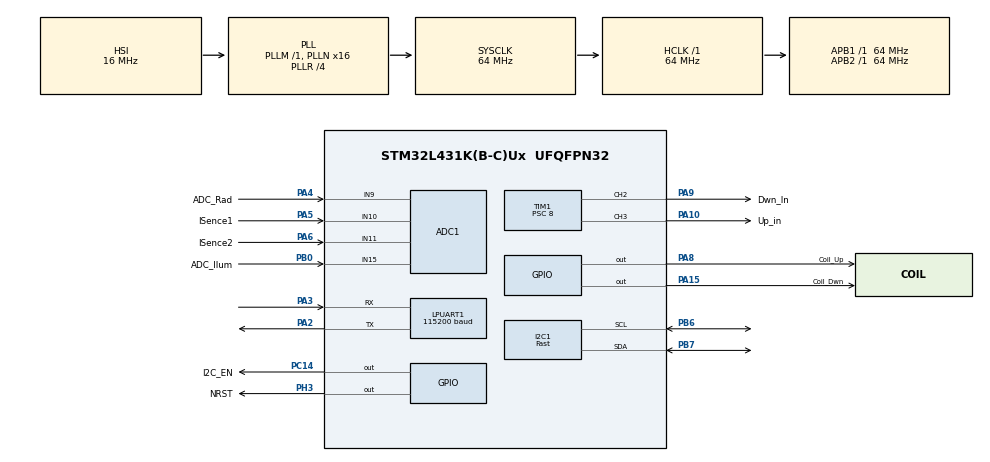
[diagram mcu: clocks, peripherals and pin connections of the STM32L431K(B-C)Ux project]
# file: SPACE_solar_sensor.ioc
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ADC1.Channel-0\#ChannelRegularConversion=ADC_CHANNEL_9
ADC1.Channel-1\#ChannelRegularConversion=ADC_CHANNEL_10
ADC1.Channel-2\#ChannelRegularConversion=ADC_CHANNEL_11
ADC1.Channel-3\#ChannelRegularConversion=ADC_CHANNEL_15
ADC1.ContinuousConvMode=ENABLE
ADC1.DMAContinuousRequests=ENABLE
ADC1.NbrOfConversion=4
ADC1.NbrOfConversionFlag=1
ADC1.OffsetNumber-0\#ChannelRegularConversion=ADC_OFFSET_NONE
ADC1.OffsetNumber-1\#ChannelRegularConversion=ADC_OFFSET_NONE
ADC1.OffsetNumber-2\#ChannelRegularConversion=ADC_OFFSET_NONE
ADC1.OffsetNumber-3\#ChannelRegularConversion=ADC_OFFSET_NONE
ADC1.Rank-0\#ChannelRegularConversion=1
ADC1.Rank-1\#ChannelRegularConversion=2
ADC1.Rank-2\#ChannelRegularConversion=3
ADC1.Rank-3\#ChannelRegularConversion=4
ADC1.SamplingTime-0\#ChannelRegularConversion=ADC_SAMPLETIME_640CYCLES_5
ADC1.SamplingTime-1\#ChannelRegularConversion=ADC_SAMPLETIME_640CYCLES_5
ADC1.SamplingTime-2\#ChannelRegularConversion=ADC_SAMPLETIME_640CYCLES_5
ADC1.SamplingTime-3\#ChannelRegularConversion=ADC_SAMPLETIME_640CYCLES_5
ADC1.master=1
Dma.ADC1.0.Direction=DMA_PERIPH_TO_MEMORY
Dma.ADC1.0.Instance=DMA1_Channel1
Dma.ADC1.0.MemDataAlignment=DMA_MDATAALIGN_HALFWORD
Dma.ADC1.0.MemInc=DMA_MINC_ENABLE
Dma.ADC1.0.Mode=DMA_CIRCULAR
Dma.ADC1.0.PeriphDataAlignment=DMA_PDATAALIGN_HALFWORD
Dma.ADC1.0.PeriphInc=DMA_PINC_DISABLE
Dma.ADC1.0.Priority=DMA_PRIORITY_LOW
Dma.Request0=ADC1
I2C1.I2C_Speed_Mode=I2C_Fast
I2C1.Speed=400
I2C1.Timing=0x00602173
LPUART1.BaudRate=115200
LPUART1.WordLength=UART_WORDLENGTH_8B
Mcu.Family=STM32L4
Mcu.Name=STM32L431K(B-C)Ux
Mcu.Package=UFQFPN32
NVIC.DMA1_Channel1_IRQn=true\:0\:0\:true\:false\:true\:false\:true\:true
NVIC.LPUART1_IRQn=true\:0\:0\:false\:false\:true\:true\:true\:true
NVIC.PriorityGroup=NVIC_PRIORITYGROUP_4
NVIC.TIM1_CC_IRQn=true\:0\:0\:true\:false\:true\:true\:true\:true
NVIC.TIM2_IRQn=true\:0\:0\:false\:false\:true\:true\:true\:true
PA0.Mode=HSE-External-Clock-Source-for-LittleOrca
PA0.Signal=RCC_CK_IN
PA10.GPIO_Label=Up_in
PA10.Signal=S_TIM1_CH3
PA13\ (JTMS-SWDIO).Mode=Serial_Wire
PA13\ (JTMS-SWDIO).Signal=SYS_JTMS-SWDIO
PA14\ (JTCK-SWCLK).Mode=Serial_Wire
PA14\ (JTCK-SWCLK).Signal=SYS_JTCK-SWCLK
PA15\ (JTDI).GPIO_Label=Coil_Dwn
PA15\ (JTDI).GPIO_ModeDefaultOutputPP=GPIO_MODE_OUTPUT_OD
PA15\ (JTDI).GPIO_PuPd=GPIO_NOPULL
PA15\ (JTDI).Signal=GPIO_Output
PA2.Mode=Asynchronous
PA2.Signal=LPUART1_TX
PA3.Mode=Asynchronous
PA3.Signal=LPUART1_RX
PA4.GPIO_Label=ADC_Rad
PA4.Signal=ADCx_IN9
PA5.GPIO_Label=ISence1
PA5.Signal=ADCx_IN10
PA6.GPIO_Label=ISence2
PA6.Signal=ADCx_IN11
PA8.GPIO_Label=Coil_Up
PA8.GPIO_ModeDefaultOutputPP=GPIO_MODE_OUTPUT_OD
PA8.GPIO_PuPd=GPIO_NOPULL
PA8.PinState=GPIO_PIN_SET
PA8.Signal=GPIO_Output
PA9.GPIO_Label=Dwn_In
PA9.Signal=S_TIM1_CH2
PB0.GPIO_Label=ADC_Ilum
PB0.Signal=ADCx_IN15
PB6.GPIO_Pu=GPIO_PULLUP
PB6.Mode=I2C
PB6.Signal=I2C1_SCL
PB7.GPIO_Pu=GPIO_PULLUP
PB7.Mode=I2C
PB7.Signal=I2C1_SDA
PC14-OSC32_IN\ (PC14).GPIO_Label=I2C_EN
PC14-OSC32_IN\ (PC14).GPIO_PuPd=GPIO_PULLDOWN
PC14-OSC32_IN\ (PC14).PinState=GPIO_PIN_RESET
PC14-OSC32_IN\ (PC14).Signal=GPIO_Output
PH3-BOOT0.GPIO_Label=NRST
PH3-BOOT0.GPIO_PuPd=GPIO_PULLUP
PH3-BOOT0.GPIO_Speed=GPIO_SPEED_FREQ_HIGH
PH3-BOOT0.PinState=GPIO_PIN_SET
PH3-BOOT0.Signal=GPIO_Output
ProjectManager.HeapSize=0x200
ProjectManager.StackSize=0x400
ProjectManager.TargetToolchain=STM32CubeIDE
RCC.ADCFreq_Value=64000000
RCC.AHBFreq_Value=64000000
RCC.APB1Freq_Value=64000000
RCC.APB1TimFreq_Value=64000000
RCC.APB2Freq_Value=64000000
RCC.APB2TimFreq_Value=64000000
RCC.CortexFreq_Value=64000000
RCC.HCLKFreq_Value=64000000
RCC.HSE_VALUE=8000000
RCC.HSI48_VALUE=48000000
RCC.HSI_VALUE=16000000
RCC.LSE_VALUE=32768
RCC.MSI_VALUE=4000000
RCC.PLLN=16
RCC.PLLR=RCC_PLLR_DIV4
RCC.PLLSourceVirtual=RCC_PLLSOURCE_HSI
RCC.SYSCLKFreq_VALUE=64000000
RCC.SYSCLKSource=RCC_SYSCLKSOURCE_PLLCLK
RCC.VCOOutputFreq_Value=256000000
SH.ADCx_IN10.0=ADC1_IN10,IN10-Single-Ended
SH.ADCx_IN11.0=ADC1_IN11,IN11-Single-Ended
SH.ADCx_IN15.0=ADC1_IN15,IN15-Single-Ended
SH.ADCx_IN9.0=ADC1_IN9,IN9-Single-Ended
SH.S_TIM1_CH2.0=TIM1_CH2,Output Compare2 CH2
SH.S_TIM1_CH3.0=TIM1_CH3,Output Compare3 CH3
TIM1.Channel-Output\ Compare2\ CH2=TIM_CHANNEL_2
TIM1.Channel-Output\ Compare3\ CH3=TIM_CHANNEL_3
TIM1.OCIdleState_3=TIM_OCIDLESTATE_SET
TIM1.OCMode_2=TIM_OCMODE_TOGGLE
TIM1.OCMode_3=TIM_OCMODE_TOGGLE
TIM1.OCPolarity_2=TIM_OCPOLARITY_LOW
TIM1.Period=100-1
TIM1.Prescaler=8
TIM1.Pulse-Output\ Compare2\ CH2=80-1
TIM1.Pulse-Output\ Compare3\ CH3=80-1
TIM2.Period=500-1
TIM2.Prescaler=64000
VP_TIM1_VS_ClockSourceINT.Mode=Internal
VP_TIM2_VS_ClockSourceINT.Mode=Internal
board=custom

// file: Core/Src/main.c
/* USER CODE BEGIN Header */
/**
  ******************************************************************************
  * @file           : main.c
  * @brief          : Main program body
  ******************************************************************************
  * @attention
  *
  * <h2><center>&copy; Copyright (c) 2022 STMicroelectronics.
  * All rights reserved.</center></h2>
  *
  * This software component is licensed by ST under BSD 3-Clause license,
  * the "License"; You may not use this file except in compliance with the
  * License. You may obtain a copy of the License at:
  *                        opensource.org/licenses/BSD-3-Clause
  *
  ******************************************************************************
  */
/* USER CODE END Header */
#include "main.h"
#include "adc.h"
#include "dma.h"
#include "i2c.h"
#include "usart.h"
#include "tim.h"
#include "gpio.h"

/* USER CODE BEGIN Includes */
#include  <math.h>
#include "as7265x.h"
#include  <stdio.h>
/* USER CODE END Includes */

/* USER CODE BEGIN PD */
/////////////////////////QMC7983//////////////////////////////////////
#define DATA_X_LSB_REG 0x00
#define DATA_X_MSB_REG 0x01
#define DATA_Y_LSB_REG 0x02
#define DATA_Y_MSB_REG 0x03
#define DATA_Z_LSB_REG 0x04
#define DATA_Z_MSB_REG 0x05

#define TOUT_LSB_REG  0x07
#define TOUT_MSB_REG  0x08

#define STATUS_REG_1 0x06
#define STATUS_REG_2 0x0C

#define CONTROL_REG_1 0x09
#define CONTROL_REG_2 0x0A

#define SET_RESET_PERIOD_REG 0x0B

#define QMC7983_ADDR (0x2C)<<1 // 0101100 - tied to  VSS
#define CHIPID_REG 0x0D

#define PI 3.141592
/* USER CODE END PD */

/* USER CODE BEGIN PV */
float mag_fi_meas[3] = {0.0}; //G
float mag_fi_x,mag_fi_y,mag_fi_z = 0.0;
float total_magn = 0.0;
float temp_meas = 0.0; //degrees
float heading = 0.0; //degrees
float ADC_Rad = 0.0;
float ADC_Ilum = 0.0;
float ADC_ISence1 = 0.0;
float ADC_ISence2 = 0.0;

char uart_buffer [1000]  ;

uint16_t sensor_raw_vals[4] = {0};
extern as7265x_raw_channels_t raw_channels;
uint8_t raw_temp_data[2];
/* USER CODE END PV */

void SystemClock_Config(void);
/* USER CODE BEGIN PFP */
void QMC7983_config(void);
void QMC7983_read_magn_field(void);
void QMC7983_read_temp (void);
void QMC7983_read_heading (void);
void AS72651_config(void);
void AS72651_read(void);
void Current_Left(uint8_t PWM);
void Current_Right(uint8_t PWM);
/* USER CODE END PFP */

/* USER CODE BEGIN 0 */
#ifdef __GNUC__
#define PUTCHAR_PROTOTYPE int __io_putchar(int ch)
#else
#define PUTCHAR_PROTOTYPE int fputc(int ch, FILE *f)
#endif
PUTCHAR_PROTOTYPE
{
	HAL_UART_Transmit(&hlpuart1, (uint8_t *)&ch, 1, 1000);
}
//int __io_putchar(int ch){
//
//	HAL_UART_Transmit(&hlpuart1,(uint8_t*)ch,1,1000);
//	return ch;
//}

void QMC7983_config(void){
	uint8_t config_data[4]={0x00,
							0x35,
							0xFF,
							0x40};
	HAL_I2C_Mem_Read(&hi2c1, QMC7983_ADDR,CHIPID_REG,1, config_data, 1,1000); // check device ID
	if(config_data[0]!=0){
		HAL_I2C_Mem_Write(&hi2c1,QMC7983_ADDR ,CONTROL_REG_1,1, config_data+1, 1,1000); //set Mode,ODR,RNG,OSR (full scale range of 16G)
		HAL_I2C_Mem_Write(&hi2c1,QMC7983_ADDR ,SET_RESET_PERIOD_REG,1, config_data+2, 1,1000); //set SET/RESET Period
		HAL_I2C_Mem_Write(&hi2c1,QMC7983_ADDR ,CONTROL_REG_2,1, config_data+3, 1,1000); //enable the roll-over function
	}
}

void QMC7983_read_magn_field(void){
	uint8_t status_flag = 0x00;
	uint8_t raw_data[6];
	HAL_I2C_Mem_Read(&hi2c1, QMC7983_ADDR,STATUS_REG_1,1, &status_flag, 1,1000);
	if((status_flag & 1U<<0)==1){
		HAL_I2C_Mem_Read(&hi2c1, QMC7983_ADDR,DATA_X_LSB_REG,1, raw_data, 6,1000);
		//because of full scale range is +/-16 , then the coefficient must be 1/1.000 according to datasheet
		//1G = 10^-4 T
		mag_fi_meas[0] = (int16_t)(raw_data[1]<<8 | raw_data[0])/1000.0;
		mag_fi_meas[1] = (int16_t)(raw_data[3]<<8 | raw_data[2])/1000.0;
		mag_fi_meas[2] = (int16_t)(raw_data[5]<<8 | raw_data[4])/1000.0;
		mag_fi_x = mag_fi_meas[0];
		mag_fi_y = mag_fi_meas[1];
		mag_fi_z = mag_fi_meas[2];
		total_magn = sqrtf(mag_fi_meas[0]*mag_fi_meas[0]+mag_fi_meas[1]*mag_fi_meas[1]+mag_fi_meas[2]*mag_fi_meas[2]);
	}
}

void QMC7983_read_temp (void){
	uint8_t status_flag = 0x00;
	uint8_t raw_temp_data[2];

	HAL_I2C_Mem_Read (&hi2c1, QMC7983_ADDR,STATUS_REG_1,1, &status_flag, 1,1000);
	if((status_flag & 1U<<0)==1)
	{
		HAL_I2C_Mem_Read (&hi2c1, QMC7983_ADDR,TOUT_LSB_REG,1, raw_temp_data, 2,1000);
		temp_meas = (int16_t)(raw_temp_data[1]<<8 |raw_temp_data[0])/100.0;
	}
}

void QMC7983_read_heading (void){

	QMC7983_read_magn_field();
	if(mag_fi_meas[0]==0)
	{
		if(mag_fi_meas[1]<0)
			heading = 90;
		else
			heading = 0;
	}
	else
	{
		heading =  atan2f(mag_fi_meas[1],mag_fi_meas[0])*180/PI - 11.71; //11.71 magnetic declination in spb
		if(heading>=360)
			heading -= 360;
		if(heading<0)
			heading += 360;
	}
}

void HAL_ADC_ConvCpltCallback(ADC_HandleTypeDef* hadc){
		ADC_Rad = sensor_raw_vals[0]*(3.3/4096); // 2^12
		ADC_ISence1 = sensor_raw_vals[1]*(3.3/4096/0.8);  //  Amper
		ADC_ISence2 = (sensor_raw_vals[2]-2.45/3.3*4096)*(3.3/4096/0.8);  //  Amper
		ADC_Ilum = sensor_raw_vals[3]*(3.3/4096);
}

void Current_Left(uint8_t PWM)
{
	HAL_GPIO_WritePin(Coil_Up_GPIO_Port, Coil_Up_Pin, GPIO_PIN_RESET);
	HAL_GPIO_WritePin(Coil_Dwn_GPIO_Port, Coil_Dwn_Pin, GPIO_PIN_SET);

	HAL_TIM_OC_Stop_IT(&htim1,TIM_CHANNEL_3);//Up
	HAL_TIM_OC_Stop_IT(&htim1,TIM_CHANNEL_2);//Dwn

	__HAL_TIM_SET_COMPARE(&htim1, TIM_CHANNEL_2, PWM);
	HAL_TIM_OC_Start_IT(&htim1,TIM_CHANNEL_2);

}

void Current_Rigth(uint8_t PWM)
{
	HAL_GPIO_WritePin(Coil_Dwn_GPIO_Port, Coil_Dwn_Pin, GPIO_PIN_RESET);
	HAL_GPIO_WritePin(Coil_Up_GPIO_Port, Coil_Up_Pin, GPIO_PIN_SET);

	HAL_TIM_OC_Stop_IT(&htim1,TIM_CHANNEL_2);//Dwn
	HAL_TIM_OC_Stop_IT(&htim1,TIM_CHANNEL_3);//Up

	__HAL_TIM_SET_COMPARE(&htim1, TIM_CHANNEL_3, PWM);
	HAL_TIM_OC_Start_IT(&htim1,TIM_CHANNEL_3);

}

/* USER CODE END 0 */

int main(void)
{

  /* MCU Configuration--------------------------------------------------------*/

  /* Reset of all peripherals, Initializes the Flash interface and the Systick. */
  HAL_Init();

  /* Configure the system clock */
  SystemClock_Config();

  /* Initialize all configured peripherals */
  MX_GPIO_Init();
  MX_DMA_Init();
  MX_TIM1_Init();
  MX_I2C1_Init();
  MX_ADC1_Init();
  MX_LPUART1_UART_Init();
  MX_TIM2_Init();
  /* USER CODE BEGIN 2 */
  //as7265x_config();
  QMC7983_config();
  HAL_Delay(100);
  HAL_ADC_Start_DMA(&hadc1,(uint32_t*)sensor_raw_vals,4);
  HAL_TIM_Base_Start_IT(&htim2);
  //Current_Rigth(50);
  //Current_Left(100);
  /* USER CODE END 2 */

  /* Infinite loop */
  /* USER CODE BEGIN WHILE */
  while (1)
  {
	  QMC7983_read_heading();
	  HAL_Delay(100);
	  QMC7983_read_temp ();
	  HAL_Delay(100);
//	  as7265x_read();
//	  HAL_Delay(50);
    /* USER CODE END WHILE */

    /* USER CODE BEGIN 3 */
  }
//  as7265x_soft_reset();
  /* USER CODE END 3 */
}

void SystemClock_Config(void)
{
  RCC_OscInitTypeDef RCC_OscInitStruct = {0};
  RCC_ClkInitTypeDef RCC_ClkInitStruct = {0};

  /** Configure the main internal regulator output voltage
  */
  if (HAL_PWREx_ControlVoltageScaling(PWR_REGULATOR_VOLTAGE_SCALE1) != HAL_OK)
  {
    Error_Handler();
  }

  /** Initializes the RCC Oscillators according to the specified parameters
  * in the RCC_OscInitTypeDef structure.
  */
  RCC_OscInitStruct.OscillatorType = RCC_OSCILLATORTYPE_HSI;
  RCC_OscInitStruct.HSIState = RCC_HSI_ON;
  RCC_OscInitStruct.HSICalibrationValue = RCC_HSICALIBRATION_DEFAULT;
  RCC_OscInitStruct.PLL.PLLState = RCC_PLL_ON;
  RCC_OscInitStruct.PLL.PLLSource = RCC_PLLSOURCE_HSI;
  RCC_OscInitStruct.PLL.PLLM = 1;
  RCC_OscInitStruct.PLL.PLLN = 16;
  RCC_OscInitStruct.PLL.PLLP = RCC_PLLP_DIV7;
  RCC_OscInitStruct.PLL.PLLQ = RCC_PLLQ_DIV2;
  RCC_OscInitStruct.PLL.PLLR = RCC_PLLR_DIV4;
  if (HAL_RCC_OscConfig(&RCC_OscInitStruct) != HAL_OK)
  {
    Error_Handler();
  }

  /** Initializes the CPU, AHB and APB buses clocks
  */
  RCC_ClkInitStruct.ClockType = RCC_CLOCKTYPE_HCLK|RCC_CLOCKTYPE_SYSCLK
                              |RCC_CLOCKTYPE_PCLK1|RCC_CLOCKTYPE_PCLK2;
  RCC_ClkInitStruct.SYSCLKSource = RCC_SYSCLKSOURCE_PLLCLK;
  RCC_ClkInitStruct.AHBCLKDivider = RCC_SYSCLK_DIV1;
  RCC_ClkInitStruct.APB1CLKDivider = RCC_HCLK_DIV1;
  RCC_ClkInitStruct.APB2CLKDivider = RCC_HCLK_DIV1;

  if (HAL_RCC_ClockConfig(&RCC_ClkInitStruct, FLASH_LATENCY_3) != HAL_OK)
  {
    Error_Handler();
  }
}

/* USER CODE BEGIN 4 */
//void HAL_TIM_OC_DelayElapsedCallback(TIM_HandleTypeDef *htim){
//	uint16_t captured_val = 0 ;
//	if(htim->Channel == HAL_TIM_ACTIVE_CHANNEL_2){
//		captured_val = HAL_TIM_ReadCapturedValue(htim,TIM_CHANNEL_2);
//	}
//
//	if(htim->Channel == HAL_TIM_ACTIVE_CHANNEL_3){
//		captured_val = HAL_TIM_ReadCapturedValue(htim,TIM_CHANNEL_3);
//	}
//	return;
//}
/* USER CODE END 4 */

void Error_Handler(void)
{
  __disable_irq();
  while (1)
  {
  }
}
